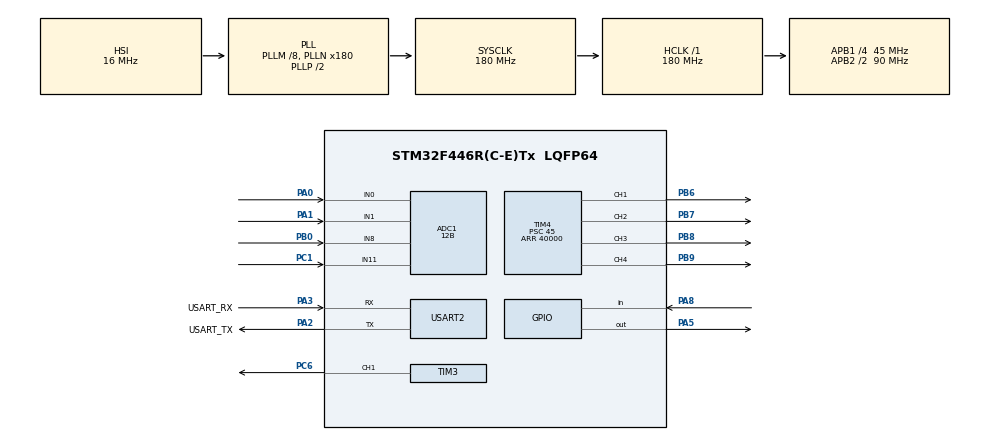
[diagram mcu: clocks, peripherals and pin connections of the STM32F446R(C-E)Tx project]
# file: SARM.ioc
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ADC1.Channel-0\#ChannelRegularConversion=ADC_CHANNEL_0
ADC1.Channel-1\#ChannelRegularConversion=ADC_CHANNEL_1
ADC1.Channel-2\#ChannelRegularConversion=ADC_CHANNEL_8
ADC1.Channel-3\#ChannelRegularConversion=ADC_CHANNEL_11
ADC1.ContinuousConvMode=ENABLE
ADC1.DMAContinuousRequests=ENABLE
ADC1.EOCSelection=ADC_EOC_SEQ_CONV
ADC1.NbrOfConversion=4
ADC1.NbrOfConversionFlag=1
ADC1.Rank-0\#ChannelRegularConversion=1
ADC1.Rank-1\#ChannelRegularConversion=2
ADC1.Rank-2\#ChannelRegularConversion=3
ADC1.Rank-3\#ChannelRegularConversion=4
ADC1.Resolution=ADC_RESOLUTION_12B
ADC1.SamplingTime-0\#ChannelRegularConversion=ADC_SAMPLETIME_3CYCLES
ADC1.SamplingTime-1\#ChannelRegularConversion=ADC_SAMPLETIME_3CYCLES
ADC1.SamplingTime-2\#ChannelRegularConversion=ADC_SAMPLETIME_3CYCLES
ADC1.SamplingTime-3\#ChannelRegularConversion=ADC_SAMPLETIME_3CYCLES
ADC1.ScanConvMode=ENABLE
ADC1.master=1
Dma.ADC1.0.Direction=DMA_PERIPH_TO_MEMORY
Dma.ADC1.0.FIFOMode=DMA_FIFOMODE_DISABLE
Dma.ADC1.0.Instance=DMA2_Stream0
Dma.ADC1.0.MemDataAlignment=DMA_MDATAALIGN_HALFWORD
Dma.ADC1.0.MemInc=DMA_MINC_ENABLE
Dma.ADC1.0.Mode=DMA_CIRCULAR
Dma.ADC1.0.PeriphDataAlignment=DMA_PDATAALIGN_HALFWORD
Dma.ADC1.0.PeriphInc=DMA_PINC_DISABLE
Dma.ADC1.0.Priority=DMA_PRIORITY_LOW
Dma.Request0=ADC1
Mcu.Family=STM32F4
Mcu.Name=STM32F446R(C-E)Tx
Mcu.Package=LQFP64
NVIC.DMA2_Stream0_IRQn=true\:0\:0\:false\:false\:true\:false\:true\:true
NVIC.PriorityGroup=NVIC_PRIORITYGROUP_0
NVIC.TIM6_DAC_IRQn=true\:0\:1\:true\:false\:true\:true\:true\:true
NVIC.TIM7_IRQn=true\:0\:1\:false\:false\:true\:true\:true\:true
NVIC.USART2_IRQn=true\:0\:0\:false\:false\:true\:true\:true\:true
PA0-WKUP.Signal=ADCx_IN0
PA1.Signal=ADCx_IN1
PA13.GPIO_Label=TMS
PA13.Mode=Serial_Wire
PA13.Signal=SYS_JTMS-SWDIO
PA14.GPIO_Label=TCK
PA14.Mode=Serial_Wire
PA14.Signal=SYS_JTCK-SWCLK
PA2.GPIO_Label=USART_TX
PA2.Mode=Asynchronous
PA2.Signal=USART2_TX
PA3.GPIO_Label=USART_RX
PA3.Mode=Asynchronous
PA3.Signal=USART2_RX
PA5.Signal=GPIO_Output
PA8.Signal=GPIO_Input
PB0.Signal=ADCx_IN8
PB3.GPIO_Label=SWO
PB3.Signal=SYS_JTDO-SWO
PB6.Signal=S_TIM4_CH1
PB7.Signal=S_TIM4_CH2
PB8.Signal=S_TIM4_CH3
PB9.Signal=S_TIM4_CH4
PC1.Signal=ADCx_IN11
PC14-OSC32_IN.Mode=LSE-External-Oscillator
PC14-OSC32_IN.Signal=RCC_OSC32_IN
PC15-OSC32_OUT.Mode=LSE-External-Oscillator
PC15-OSC32_OUT.Signal=RCC_OSC32_OUT
PC6.Signal=S_TIM3_CH1
PH0-OSC_IN.Mode=HSE-External-Oscillator
PH0-OSC_IN.Signal=RCC_OSC_IN
PH1-OSC_OUT.Mode=HSE-External-Oscillator
PH1-OSC_OUT.Signal=RCC_OSC_OUT
ProjectManager.HeapSize=0x200
ProjectManager.StackSize=0x400
ProjectManager.TargetToolchain=STM32CubeIDE
RCC.48MHZClocksFreq_Value=84000000
RCC.AHBFreq_Value=180000000
RCC.APB1CLKDivider=RCC_HCLK_DIV4
RCC.APB1Freq_Value=45000000
RCC.APB1TimFreq_Value=90000000
RCC.APB2CLKDivider=RCC_HCLK_DIV2
RCC.APB2Freq_Value=90000000
RCC.APB2TimFreq_Value=180000000
RCC.CortexFreq_Value=180000000
RCC.FLatency-AdvancedSettings=FLASH_LATENCY_5
RCC.HCLKFreq_Value=180000000
RCC.HSE_VALUE=8000000
RCC.HSI_VALUE=16000000
RCC.PLLM=8
RCC.PLLN=180
RCC.SYSCLKFreq_VALUE=180000000
RCC.SYSCLKSource=RCC_SYSCLKSOURCE_PLLCLK
RCC.USBFreq_Value=180000000
RCC.VCOOutputFreq_Value=360000000
SH.ADCx_IN0.0=ADC1_IN0,IN0
SH.ADCx_IN1.0=ADC1_IN1,IN1
SH.ADCx_IN11.0=ADC1_IN11,IN11
SH.ADCx_IN8.0=ADC1_IN8,IN8
SH.S_TIM3_CH1.0=TIM3_CH1,PWM Generation1 CH1
SH.S_TIM4_CH1.0=TIM4_CH1,PWM Generation1 CH1
SH.S_TIM4_CH2.0=TIM4_CH2,PWM Generation2 CH2
SH.S_TIM4_CH3.0=TIM4_CH3,PWM Generation3 CH3
SH.S_TIM4_CH4.0=TIM4_CH4,PWM Generation4 CH4
TIM3.Channel-PWM\ Generation1\ CH1=TIM_CHANNEL_1
TIM3.Period=40000
TIM3.Prescaler=45
TIM4.Channel-PWM\ Generation1\ CH1=TIM_CHANNEL_1
TIM4.Channel-PWM\ Generation2\ CH2=TIM_CHANNEL_2
TIM4.Channel-PWM\ Generation3\ CH3=TIM_CHANNEL_3
TIM4.Channel-PWM\ Generation4\ CH4=TIM_CHANNEL_4
TIM4.Period=40000
TIM4.Prescaler=45
TIM6.Period=100
TIM6.Prescaler=900
TIM7.Period=500
TIM7.Prescaler=9000
USART2.Parity=PARITY_NONE
USART2.VirtualMode=VM_ASYNC
USART2.WordLength=WORDLENGTH_8B
VP_TIM3_VS_ClockSourceINT.Mode=Internal
VP_TIM4_VS_ClockSourceINT.Mode=Internal
VP_TIM6_VS_ClockSourceINT.Mode=Enable_Timer
VP_TIM7_VS_ClockSourceINT.Mode=Enable_Timer
board=NUCLEO-F446RE

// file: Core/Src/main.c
/* USER CODE BEGIN Header */
/**
  ******************************************************************************
  * @file           : main.c
  * @brief          : Main program body
  ******************************************************************************
  * @attention
  *
  * Copyright (c) 2024 STMicroelectronics.
  * All rights reserved.
  *
  * This software is licensed under terms that can be found in the LICENSE file
  * in the root directory of this software component.
  * If no LICENSE file comes with this software, it is provided AS-IS.
  *
  ******************************************************************************
  */
/* USER CODE END Header */
#include "main.h"

/* USER CODE BEGIN Includes */
#include "state.h"
#include <string.h>
#include <stdlib.h>
#include <stdio.h>
#include <math.h>
/* USER CODE END Includes */

ADC_HandleTypeDef hadc1;
DMA_HandleTypeDef hdma_adc1;

TIM_HandleTypeDef htim3;
TIM_HandleTypeDef htim4;
TIM_HandleTypeDef htim6;
TIM_HandleTypeDef htim7;

UART_HandleTypeDef huart2;

/* USER CODE BEGIN PV */
const float LIMIT_ANGLE_H=1.8;
const float LIMIT_ANGLE_V=1.0;
const float T = 0.05; //補間時間 プリスケーラ9000 コンペア500
const int PULSE_LIMIT=40000;

uint8_t dma_rx_buff[1];
uint8_t rx_buff[128];
uint8_t tx_buff[128];

uint16_t g_ADCBuffer[4];
uint16_t link1_adc=0;
uint16_t link2_adc=0;
uint16_t link3_adc=0;
uint16_t link4_adc=0;
uint8_t grab_pin=0;

State state = {
	0,
	0.0,
	0.0,
	30.0,
	0.0,
	0,
	0
};

State now_state = {
	0,
	0.0,
	0.0,
	30.0,
	0.0,
	0,
	0
};

State tgt_state = {
	0,
	0.0,
	0.0,
	30.0,
	0.0,
	0,
	0
};

State pre_state = {
	0,
	0.0,
	0.0,
	30.0,
	0.0,
	0,
	0
};

uint8_t link1_str[6];
uint8_t link2_str[6];
uint8_t link3_str[6];
uint8_t link4_str[6];

/* USER CODE END PV */

void SystemClock_Config(void);
static void MX_GPIO_Init(void);
static void MX_DMA_Init(void);
static void MX_USART2_UART_Init(void);
static void MX_TIM6_Init(void);
static void MX_TIM7_Init(void);
static void MX_TIM3_Init(void);
static void MX_TIM4_Init(void);
static void MX_ADC1_Init(void);

/* USER CODE BEGIN 0 */

int deg2pulse(float deg)
{
	int pulse = (int)(3000.0+2000.0/90.0*deg);
	if (pulse>=1000 && pulse <=5000)
	{
		return PULSE_LIMIT-pulse;
	}
	else
	{
		return PULSE_LIMIT-3000;
	}
}

void HAL_UART_RxCpltCallback(UART_HandleTypeDef *huart) {
    if (huart->Instance == USART2) {
    	if (state.counter<128){
    		if(dma_rx_buff[0]=='\n'){
    			rx_buff[state.counter]=dma_rx_buff[0];
    			UpdateTarget();
    			state.counter=0;
    			memset(rx_buff,0,sizeof(rx_buff));
    		} else {
    			rx_buff[state.counter]=dma_rx_buff[0];
    			state.counter++;
    		}
    	} else {
    		state.counter=0;
    		memset(rx_buff,0,sizeof(rx_buff));
    	}
        HAL_UART_Receive_IT(&huart2, dma_rx_buff, 1);
    }
}

void UpdateTarget(){
	if (
		rx_buff[0]=='A' &&
		rx_buff[7]=='B' &&
		rx_buff[14]=='C' &&
		rx_buff[21]=='D' &&
		rx_buff[28]=='G' &&
		rx_buff[30]=='M'
	){
		sprintf(
			link1_str,
			"%c%c%c%c%c%c",
			rx_buff[1],
			rx_buff[2],
			rx_buff[3],
			rx_buff[4],
			rx_buff[5],
			rx_buff[6]
		);
		state.link1=atof(link1_str);
		sprintf(
			link2_str,
			"%c%c%c%c%c%c",
			rx_buff[8],
			rx_buff[9],
			rx_buff[10],
			rx_buff[11],
			rx_buff[12],
			rx_buff[13]
		);
		state.link2=atof(link2_str);
		sprintf(
			link3_str,
			"%c%c%c%c%c%c",
			rx_buff[15],
			rx_buff[16],
			rx_buff[17],
			rx_buff[18],
			rx_buff[19],
			rx_buff[20]
		);
		state.link3=atof(link3_str);
		sprintf(
			link4_str,
			"%c%c%c%c%c%c",
			rx_buff[22],
			rx_buff[23],
			rx_buff[24],
			rx_buff[25],
			rx_buff[26],
			rx_buff[27]
		);
		state.link4=atof(link4_str);
		state.glab = rx_buff[29];
		state.mode=rx_buff[31];
		if (state.glab=='1')
		{
			__HAL_TIM_SET_COMPARE(&htim3,TIM_CHANNEL_1,40000-1500); //1000(0.5ms)~3000(1.5ms)~5000(2.5ms)
		}
		else
		{
			__HAL_TIM_SET_COMPARE(&htim3,TIM_CHANNEL_1,40000-3000); //1000(0.5ms)~3000(1.5ms)~5000(2.5ms)
		}
	}
	else
	{
	}
}

float update_tgt_h(float state_link,float tgt_link)
{
	if (abs(state_link-tgt_link)>LIMIT_ANGLE_H && (state_link-tgt_link)>0)
	{
		return tgt_link+LIMIT_ANGLE_H;
	}
	else if (abs(state_link-tgt_link)>LIMIT_ANGLE_H && (state_link-tgt_link)<0)
	{
		return tgt_link-LIMIT_ANGLE_H;
	}

	return state_link;
}

float update_tgt_v(float state_link,float tgt_link)
{
	if (abs(state_link-tgt_link)>LIMIT_ANGLE_V && (state_link-tgt_link)>0)
	{
		return tgt_link+LIMIT_ANGLE_V;
	}
	else if (abs(state_link-tgt_link)>LIMIT_ANGLE_V && (state_link-tgt_link)<0)
	{
		return tgt_link-LIMIT_ANGLE_V;
	}

	return state_link;
}

void HAL_TIM_PeriodElapsedCallback(TIM_HandleTypeDef *htim){
	static float t = 0.0f;

	if(htim == &htim6) {
		now_state.link1=
				-2.0*(tgt_state.link1-pre_state.link1)*powf(t,3.0)/powf(T,3.0)+
				3.0*(tgt_state.link1-pre_state.link1)*powf(t,2.0)/powf(T,2.0)+
				pre_state.link1;
		__HAL_TIM_SET_COMPARE(&htim4,TIM_CHANNEL_1,deg2pulse(now_state.link1)); //1000(0.5ms)~3000(1.5ms)~5000(2.5ms)

		now_state.link2=
				-2.0*(tgt_state.link2-pre_state.link2)*powf(t,3.0)/powf(T,3.0)+
				3.0*(tgt_state.link2-pre_state.link2)*powf(t,2.0)/powf(T,2.0)+
				pre_state.link2;
		__HAL_TIM_SET_COMPARE(&htim4,TIM_CHANNEL_2,deg2pulse(now_state.link2)); //1000(0.5ms)~3000(1.5ms)~5000(2.5ms)

		now_state.link3=
				-2.0*(tgt_state.link3-pre_state.link3)*powf(t,3.0)/powf(T,3.0)+
				3.0*(tgt_state.link3-pre_state.link3)*powf(t,2.0)/powf(T,2.0)+
				pre_state.link3;
		__HAL_TIM_SET_COMPARE(&htim4,TIM_CHANNEL_3,deg2pulse(now_state.link3)); //1000(0.5ms)~3000(1.5ms)~5000(2.5ms)

		now_state.link4=
				-2.0*(tgt_state.link4-pre_state.link4)*powf(t,3.0)/powf(T,3.0)+
				3.0*(tgt_state.link4-pre_state.link4)*powf(t,2.0)/powf(T,2.0)+
				pre_state.link4;
		__HAL_TIM_SET_COMPARE(&htim4,TIM_CHANNEL_4,deg2pulse(now_state.link4)); //1000(0.5ms)~3000(1.5ms)~5000(2.5ms)

		//t+=0.005;
		t +=T*0.02;
	}

    if(htim == &htim7) {
		sprintf(
			tx_buff,
			"{\"A\":%d,\"B\":%d,\"C\":%d,\"D\":%d,\"G\":%d,\"M\":%c}\n",
			link1_adc,
			link2_adc,
			link3_adc,
			link4_adc,
			grab_pin,
			state.mode
		);
  		HAL_UART_Transmit(&huart2,tx_buff,strlen(tx_buff),20);
		memset(tx_buff,0,sizeof(tx_buff));
    	t=0.0;
  		pre_state=tgt_state;

  		//tgt_state = state;

  		tgt_state.link1 = update_tgt_h(state.link1, tgt_state.link1);
  		tgt_state.link2 = update_tgt_v(state.link2, tgt_state.link2);
  		tgt_state.link3 = update_tgt_v(state.link3, tgt_state.link3);
  		tgt_state.link4 = update_tgt_h(state.link4, tgt_state.link4);
  		tgt_state.glab = state.glab;
  		tgt_state.mode = state.mode;
    }
}

/* USER CODE END 0 */

int main(void)
{

  /* MCU Configuration--------------------------------------------------------*/

  /* Reset of all peripherals, Initializes the Flash interface and the Systick. */
  HAL_Init();

  /* Configure the system clock */
  SystemClock_Config();

  /* Initialize all configured peripherals */
  MX_GPIO_Init();
  MX_DMA_Init();
  MX_USART2_UART_Init();
  MX_TIM6_Init();
  MX_TIM7_Init();
  MX_TIM3_Init();
  MX_TIM4_Init();
  MX_ADC1_Init();
  /* USER CODE BEGIN 2 */
  HAL_TIM_PWM_Start(&htim4, TIM_CHANNEL_1);
  HAL_TIM_PWM_Start(&htim4, TIM_CHANNEL_2);
  HAL_TIM_PWM_Start(&htim4, TIM_CHANNEL_3);
  HAL_TIM_PWM_Start(&htim4, TIM_CHANNEL_4);
  HAL_TIM_PWM_Start(&htim3, TIM_CHANNEL_1);
  __HAL_TIM_SET_COMPARE(&htim4,TIM_CHANNEL_2,deg2pulse(0.0)); //1000(0.5ms)~3000(1.5ms)~5000(2.5ms)
  __HAL_TIM_SET_COMPARE(&htim4,TIM_CHANNEL_1,deg2pulse(0.0)); //1000(0.5ms)~3000(1.5ms)~5000(2.5ms)
  __HAL_TIM_SET_COMPARE(&htim4,TIM_CHANNEL_3,deg2pulse(50.0)); //1000(0.5ms)~3000(1.5ms)~5000(2.5ms)
  __HAL_TIM_SET_COMPARE(&htim4,TIM_CHANNEL_4,deg2pulse(0.0)); //1000(0.5ms)~3000(1.5ms)~5000(2.5ms)
  __HAL_TIM_SET_COMPARE(&htim3,TIM_CHANNEL_1,deg2pulse(0.0)); //1000(0.5ms)~3000(1.5ms)~5000(2.5ms)
  HAL_UART_Receive_IT(&huart2, dma_rx_buff, 1);
  HAL_TIM_Base_Start_IT(&htim6);
  HAL_TIM_Base_Start_IT(&htim7);
  /* USER CODE END 2 */

  /* Infinite loop */
  /* USER CODE BEGIN WHILE */
  memset(g_ADCBuffer, 0, sizeof(g_ADCBuffer));
  HAL_ADC_Start_DMA(&hadc1, (uint32_t*)g_ADCBuffer, 4);
  while (1)
  {
    /* USER CODE END WHILE */

    /* USER CODE BEGIN 3 */
	  if( __HAL_UART_GET_FLAG(&huart2, UART_FLAG_ORE))
	  {
		HAL_GPIO_TogglePin(GPIOA, GPIO_PIN_5);
		HAL_NVIC_DisableIRQ(USART2_IRQn);
		__disable_irq();

		//一応フラグをクリアする
		__HAL_UART_CLEAR_NEFLAG(&huart2);
		__HAL_UART_CLEAR_OREFLAG(&huart2);

		//UARTを初期化する．DeInitいらない説
		HAL_UART_DeInit(&huart2);
		MX_USART2_UART_Init();

		//再開？
		HAL_UART_Abort_IT(&huart2);

		//割り込みの再開
		__enable_irq();
		HAL_NVIC_EnableIRQ(USART2_IRQn);

	 	HAL_UART_Receive_IT(&huart2, dma_rx_buff, 1);
	  }

	  grab_pin = HAL_GPIO_ReadPin(GPIOA, GPIO_PIN_8);
	  link1_adc = g_ADCBuffer[0];
	  link2_adc = g_ADCBuffer[1];
	  link3_adc = g_ADCBuffer[2];
	  link4_adc = g_ADCBuffer[3];

  }
  /* USER CODE END 3 */
}

void SystemClock_Config(void)
{
  RCC_OscInitTypeDef RCC_OscInitStruct = {0};
  RCC_ClkInitTypeDef RCC_ClkInitStruct = {0};

  /** Configure the main internal regulator output voltage
  */
  __HAL_RCC_PWR_CLK_ENABLE();
  __HAL_PWR_VOLTAGESCALING_CONFIG(PWR_REGULATOR_VOLTAGE_SCALE1);

  /** Initializes the RCC Oscillators according to the specified parameters
  * in the RCC_OscInitTypeDef structure.
  */
  RCC_OscInitStruct.OscillatorType = RCC_OSCILLATORTYPE_HSI;
  RCC_OscInitStruct.HSIState = RCC_HSI_ON;
  RCC_OscInitStruct.HSICalibrationValue = RCC_HSICALIBRATION_DEFAULT;
  RCC_OscInitStruct.PLL.PLLState = RCC_PLL_ON;
  RCC_OscInitStruct.PLL.PLLSource = RCC_PLLSOURCE_HSI;
  RCC_OscInitStruct.PLL.PLLM = 8;
  RCC_OscInitStruct.PLL.PLLN = 180;
  RCC_OscInitStruct.PLL.PLLP = RCC_PLLP_DIV2;
  RCC_OscInitStruct.PLL.PLLQ = 2;
  RCC_OscInitStruct.PLL.PLLR = 2;
  if (HAL_RCC_OscConfig(&RCC_OscInitStruct) != HAL_OK)
  {
    Error_Handler();
  }

  /** Activate the Over-Drive mode
  */
  if (HAL_PWREx_EnableOverDrive() != HAL_OK)
  {
    Error_Handler();
  }

  /** Initializes the CPU, AHB and APB buses clocks
  */
  RCC_ClkInitStruct.ClockType = RCC_CLOCKTYPE_HCLK|RCC_CLOCKTYPE_SYSCLK
                              |RCC_CLOCKTYPE_PCLK1|RCC_CLOCKTYPE_PCLK2;
  RCC_ClkInitStruct.SYSCLKSource = RCC_SYSCLKSOURCE_PLLCLK;
  RCC_ClkInitStruct.AHBCLKDivider = RCC_SYSCLK_DIV1;
  RCC_ClkInitStruct.APB1CLKDivider = RCC_HCLK_DIV4;
  RCC_ClkInitStruct.APB2CLKDivider = RCC_HCLK_DIV2;

  if (HAL_RCC_ClockConfig(&RCC_ClkInitStruct, FLASH_LATENCY_5) != HAL_OK)
  {
    Error_Handler();
  }
}

static void MX_ADC1_Init(void)
{

  ADC_ChannelConfTypeDef sConfig = {0};

  /** Configure the global features of the ADC (Clock, Resolution, Data Alignment and number of conversion)
  */
  hadc1.Instance = ADC1;
  hadc1.Init.ClockPrescaler = ADC_CLOCK_SYNC_PCLK_DIV4;
  hadc1.Init.Resolution = ADC_RESOLUTION_12B;
  hadc1.Init.ScanConvMode = ENABLE;
  hadc1.Init.ContinuousConvMode = ENABLE;
  hadc1.Init.DiscontinuousConvMode = DISABLE;
  hadc1.Init.ExternalTrigConvEdge = ADC_EXTERNALTRIGCONVEDGE_NONE;
  hadc1.Init.ExternalTrigConv = ADC_SOFTWARE_START;
  hadc1.Init.DataAlign = ADC_DATAALIGN_RIGHT;
  hadc1.Init.NbrOfConversion = 4;
  hadc1.Init.DMAContinuousRequests = ENABLE;
  hadc1.Init.EOCSelection = ADC_EOC_SEQ_CONV;
  if (HAL_ADC_Init(&hadc1) != HAL_OK)
  {
    Error_Handler();
  }

  /** Configure for the selected ADC regular channel its corresponding rank in the sequencer and its sample time.
  */
  sConfig.Channel = ADC_CHANNEL_0;
  sConfig.Rank = 1;
  sConfig.SamplingTime = ADC_SAMPLETIME_3CYCLES;
  if (HAL_ADC_ConfigChannel(&hadc1, &sConfig) != HAL_OK)
  {
    Error_Handler();
  }

  /** Configure for the selected ADC regular channel its corresponding rank in the sequencer and its sample time.
  */
  sConfig.Channel = ADC_CHANNEL_1;
  sConfig.Rank = 2;
  if (HAL_ADC_ConfigChannel(&hadc1, &sConfig) != HAL_OK)
  {
    Error_Handler();
  }

  /** Configure for the selected ADC regular channel its corresponding rank in the sequencer and its sample time.
  */
  sConfig.Channel = ADC_CHANNEL_8;
  sConfig.Rank = 3;
  if (HAL_ADC_ConfigChannel(&hadc1, &sConfig) != HAL_OK)
  {
    Error_Handler();
  }

  /** Configure for the selected ADC regular channel its corresponding rank in the sequencer and its sample time.
  */
  sConfig.Channel = ADC_CHANNEL_11;
  sConfig.Rank = 4;
  if (HAL_ADC_ConfigChannel(&hadc1, &sConfig) != HAL_OK)
  {
    Error_Handler();
  }

}

static void MX_TIM3_Init(void)
{

  TIM_ClockConfigTypeDef sClockSourceConfig = {0};
  TIM_MasterConfigTypeDef sMasterConfig = {0};
  TIM_OC_InitTypeDef sConfigOC = {0};

  htim3.Instance = TIM3;
  htim3.Init.Prescaler = 45;
  htim3.Init.CounterMode = TIM_COUNTERMODE_UP;
  htim3.Init.Period = 40000;
  htim3.Init.ClockDivision = TIM_CLOCKDIVISION_DIV1;
  htim3.Init.AutoReloadPreload = TIM_AUTORELOAD_PRELOAD_DISABLE;
  if (HAL_TIM_Base_Init(&htim3) != HAL_OK)
  {
    Error_Handler();
  }
  sClockSourceConfig.ClockSource = TIM_CLOCKSOURCE_INTERNAL;
  if (HAL_TIM_ConfigClockSource(&htim3, &sClockSourceConfig) != HAL_OK)
  {
    Error_Handler();
  }
  if (HAL_TIM_PWM_Init(&htim3) != HAL_OK)
  {
    Error_Handler();
  }
  sMasterConfig.MasterOutputTrigger = TIM_TRGO_RESET;
  sMasterConfig.MasterSlaveMode = TIM_MASTERSLAVEMODE_DISABLE;
  if (HAL_TIMEx_MasterConfigSynchronization(&htim3, &sMasterConfig) != HAL_OK)
  {
    Error_Handler();
  }
  sConfigOC.OCMode = TIM_OCMODE_PWM1;
  sConfigOC.Pulse = 0;
  sConfigOC.OCPolarity = TIM_OCPOLARITY_HIGH;
  sConfigOC.OCFastMode = TIM_OCFAST_DISABLE;
  if (HAL_TIM_PWM_ConfigChannel(&htim3, &sConfigOC, TIM_CHANNEL_1) != HAL_OK)
  {
    Error_Handler();
  }
  HAL_TIM_MspPostInit(&htim3);

}

static void MX_TIM4_Init(void)
{

  TIM_ClockConfigTypeDef sClockSourceConfig = {0};
  TIM_MasterConfigTypeDef sMasterConfig = {0};
  TIM_OC_InitTypeDef sConfigOC = {0};

  htim4.Instance = TIM4;
  htim4.Init.Prescaler = 45;
  htim4.Init.CounterMode = TIM_COUNTERMODE_UP;
  htim4.Init.Period = 40000;
  htim4.Init.ClockDivision = TIM_CLOCKDIVISION_DIV1;
  htim4.Init.AutoReloadPreload = TIM_AUTORELOAD_PRELOAD_DISABLE;
  if (HAL_TIM_Base_Init(&htim4) != HAL_OK)
  {
    Error_Handler();
  }
  sClockSourceConfig.ClockSource = TIM_CLOCKSOURCE_INTERNAL;
  if (HAL_TIM_ConfigClockSource(&htim4, &sClockSourceConfig) != HAL_OK)
  {
    Error_Handler();
  }
  if (HAL_TIM_PWM_Init(&htim4) != HAL_OK)
  {
    Error_Handler();
  }
  sMasterConfig.MasterOutputTrigger = TIM_TRGO_RESET;
  sMasterConfig.MasterSlaveMode = TIM_MASTERSLAVEMODE_DISABLE;
  if (HAL_TIMEx_MasterConfigSynchronization(&htim4, &sMasterConfig) != HAL_OK)
  {
    Error_Handler();
  }
  sConfigOC.OCMode = TIM_OCMODE_PWM1;
  sConfigOC.Pulse = 0;
  sConfigOC.OCPolarity = TIM_OCPOLARITY_HIGH;
  sConfigOC.OCFastMode = TIM_OCFAST_DISABLE;
  if (HAL_TIM_PWM_ConfigChannel(&htim4, &sConfigOC, TIM_CHANNEL_1) != HAL_OK)
  {
    Error_Handler();
  }
  if (HAL_TIM_PWM_ConfigChannel(&htim4, &sConfigOC, TIM_CHANNEL_2) != HAL_OK)
  {
    Error_Handler();
  }
  if (HAL_TIM_PWM_ConfigChannel(&htim4, &sConfigOC, TIM_CHANNEL_3) != HAL_OK)
  {
    Error_Handler();
  }
  if (HAL_TIM_PWM_ConfigChannel(&htim4, &sConfigOC, TIM_CHANNEL_4) != HAL_OK)
  {
    Error_Handler();
  }
  HAL_TIM_MspPostInit(&htim4);

}

static void MX_TIM6_Init(void)
{

  TIM_MasterConfigTypeDef sMasterConfig = {0};

  htim6.Instance = TIM6;
  htim6.Init.Prescaler = 900;
  htim6.Init.CounterMode = TIM_COUNTERMODE_UP;
  htim6.Init.Period = 100;
  htim6.Init.AutoReloadPreload = TIM_AUTORELOAD_PRELOAD_DISABLE;
  if (HAL_TIM_Base_Init(&htim6) != HAL_OK)
  {
    Error_Handler();
  }
  sMasterConfig.MasterOutputTrigger = TIM_TRGO_RESET;
  sMasterConfig.MasterSlaveMode = TIM_MASTERSLAVEMODE_DISABLE;
  if (HAL_TIMEx_MasterConfigSynchronization(&htim6, &sMasterConfig) != HAL_OK)
  {
    Error_Handler();
  }

}

static void MX_TIM7_Init(void)
{

  TIM_MasterConfigTypeDef sMasterConfig = {0};

  htim7.Instance = TIM7;
  htim7.Init.Prescaler = 9000;
  htim7.Init.CounterMode = TIM_COUNTERMODE_UP;
  htim7.Init.Period = 500;
  htim7.Init.AutoReloadPreload = TIM_AUTORELOAD_PRELOAD_DISABLE;
  if (HAL_TIM_Base_Init(&htim7) != HAL_OK)
  {
    Error_Handler();
  }
  sMasterConfig.MasterOutputTrigger = TIM_TRGO_RESET;
  sMasterConfig.MasterSlaveMode = TIM_MASTERSLAVEMODE_DISABLE;
  if (HAL_TIMEx_MasterConfigSynchronization(&htim7, &sMasterConfig) != HAL_OK)
  {
    Error_Handler();
  }

}

static void MX_USART2_UART_Init(void)
{

  huart2.Instance = USART2;
  huart2.Init.BaudRate = 115200;
  huart2.Init.WordLength = UART_WORDLENGTH_8B;
  huart2.Init.StopBits = UART_STOPBITS_1;
  huart2.Init.Parity = UART_PARITY_NONE;
  huart2.Init.Mode = UART_MODE_TX_RX;
  huart2.Init.HwFlowCtl = UART_HWCONTROL_NONE;
  huart2.Init.OverSampling = UART_OVERSAMPLING_16;
  if (HAL_UART_Init(&huart2) != HAL_OK)
  {
    Error_Handler();
  }

}

static void MX_DMA_Init(void)
{

  /* DMA controller clock enable */
  __HAL_RCC_DMA2_CLK_ENABLE();

  /* DMA interrupt init */
  /* DMA2_Stream0_IRQn interrupt configuration */
  HAL_NVIC_SetPriority(DMA2_Stream0_IRQn, 0, 0);
  HAL_NVIC_EnableIRQ(DMA2_Stream0_IRQn);

}

static void MX_GPIO_Init(void)
{
  GPIO_InitTypeDef GPIO_InitStruct = {0};

  /* GPIO Ports Clock Enable */
  __HAL_RCC_GPIOC_CLK_ENABLE();
  __HAL_RCC_GPIOH_CLK_ENABLE();
  __HAL_RCC_GPIOA_CLK_ENABLE();
  __HAL_RCC_GPIOB_CLK_ENABLE();

  /*Configure GPIO pin Output Level */
  HAL_GPIO_WritePin(GPIOA, GPIO_PIN_5, GPIO_PIN_RESET);

  /*Configure GPIO pin : PA5 */
  GPIO_InitStruct.Pin = GPIO_PIN_5;
  GPIO_InitStruct.Mode = GPIO_MODE_OUTPUT_PP;
  GPIO_InitStruct.Pull = GPIO_NOPULL;
  GPIO_InitStruct.Speed = GPIO_SPEED_FREQ_LOW;
  HAL_GPIO_Init(GPIOA, &GPIO_InitStruct);

  /*Configure GPIO pin : PA8 */
  GPIO_InitStruct.Pin = GPIO_PIN_8;
  GPIO_InitStruct.Mode = GPIO_MODE_INPUT;
  GPIO_InitStruct.Pull = GPIO_NOPULL;
  HAL_GPIO_Init(GPIOA, &GPIO_InitStruct);

}

void Error_Handler(void)
{
  __disable_irq();
  while (1)
  {
  }
}
